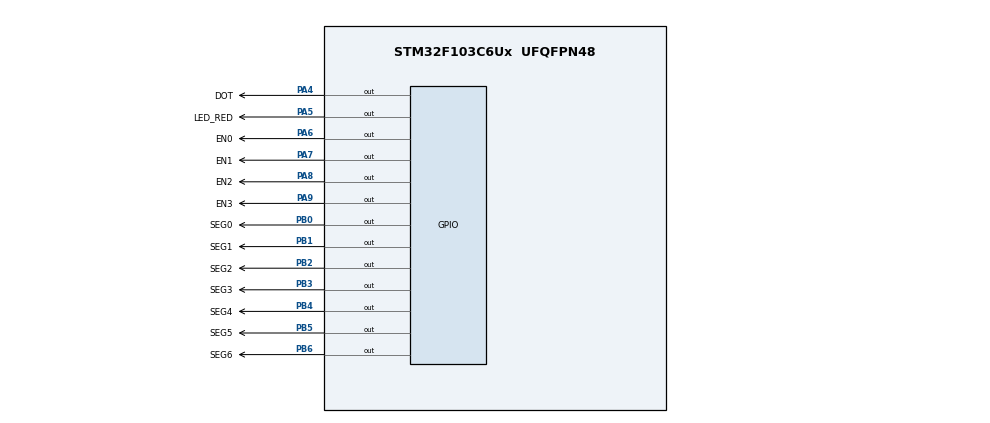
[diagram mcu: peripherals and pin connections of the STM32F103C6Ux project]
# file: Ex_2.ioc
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Mcu.Family=STM32F1
Mcu.Name=STM32F103C6Ux
Mcu.Package=UFQFPN48
NVIC.PriorityGroup=NVIC_PRIORITYGROUP_4
NVIC.TIM2_IRQn=true\:0\:0\:false\:false\:true\:true\:true
PA4.GPIO_Label=DOT
PA4.Signal=GPIO_Output
PA5.GPIO_Label=LED_RED
PA5.Signal=GPIO_Output
PA6.GPIO_Label=EN0
PA6.Signal=GPIO_Output
PA7.GPIO_Label=EN1
PA7.Signal=GPIO_Output
PA8.GPIO_Label=EN2
PA8.Signal=GPIO_Output
PA9.GPIO_Label=EN3
PA9.Signal=GPIO_Output
PB0.GPIO_Label=SEG0
PB0.Signal=GPIO_Output
PB1.GPIO_Label=SEG1
PB1.Signal=GPIO_Output
PB2.GPIO_Label=SEG2
PB2.Signal=GPIO_Output
PB3.GPIO_Label=SEG3
PB3.Signal=GPIO_Output
PB4.GPIO_Label=SEG4
PB4.Signal=GPIO_Output
PB5.GPIO_Label=SEG5
PB5.Signal=GPIO_Output
PB6.GPIO_Label=SEG6
PB6.Signal=GPIO_Output
ProjectManager.HeapSize=0x200
ProjectManager.StackSize=0x400
ProjectManager.TargetToolchain=STM32CubeIDE
RCC.APB1Freq_Value=8000000
RCC.APB2Freq_Value=8000000
TIM2.Period=9
TIM2.Prescaler=7999
VP_SYS_VS_ND.Mode=No_Debug
VP_TIM2_VS_ClockSourceINT.Mode=Internal
board=custom

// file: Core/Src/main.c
/* USER CODE BEGIN Header */
/**
  ******************************************************************************
  * @file           : main.c
  * @brief          : Main program body
  ******************************************************************************
  * @attention
  *
  * <h2><center>&copy; Copyright (c) 2023 STMicroelectronics.
  * All rights reserved.</center></h2>
  *
  * This software component is licensed by ST under BSD 3-Clause license,
  * the "License"; You may not use this file except in compliance with the
  * License. You may obtain a copy of the License at:
  *                        opensource.org/licenses/BSD-3-Clause
  *
  ******************************************************************************
  */
/* USER CODE END Header */
#include "main.h"

TIM_HandleTypeDef htim2;

void SystemClock_Config(void);
static void MX_GPIO_Init(void);
static void MX_TIM2_Init(void);
/* USER CODE BEGIN PFP */
void display7SEG(int num);
/* USER CODE END PFP */

int main(void)
{

  /* MCU Configuration--------------------------------------------------------*/

  /* Reset of all peripherals, Initializes the Flash interface and the Systick. */
  HAL_Init();

  /* Configure the system clock */
  SystemClock_Config();

  /* Initialize all configured peripherals */
  MX_GPIO_Init();
  MX_TIM2_Init();
  /* USER CODE BEGIN 2 */
  HAL_TIM_Base_Start_IT (& htim2 ) ;
  /* USER CODE END 2 */

  /* Infinite loop */
  while (1)
  {

  }
}

void SystemClock_Config(void)
{
  RCC_OscInitTypeDef RCC_OscInitStruct = {0};
  RCC_ClkInitTypeDef RCC_ClkInitStruct = {0};

  /** Initializes the RCC Oscillators according to the specified parameters
  * in the RCC_OscInitTypeDef structure.
  */
  RCC_OscInitStruct.OscillatorType = RCC_OSCILLATORTYPE_HSI;
  RCC_OscInitStruct.HSIState = RCC_HSI_ON;
  RCC_OscInitStruct.HSICalibrationValue = RCC_HSICALIBRATION_DEFAULT;
  RCC_OscInitStruct.PLL.PLLState = RCC_PLL_NONE;
  if (HAL_RCC_OscConfig(&RCC_OscInitStruct) != HAL_OK)
  {
    Error_Handler();
  }
  /** Initializes the CPU, AHB and APB buses clocks
  */
  RCC_ClkInitStruct.ClockType = RCC_CLOCKTYPE_HCLK|RCC_CLOCKTYPE_SYSCLK
                              |RCC_CLOCKTYPE_PCLK1|RCC_CLOCKTYPE_PCLK2;
  RCC_ClkInitStruct.SYSCLKSource = RCC_SYSCLKSOURCE_HSI;
  RCC_ClkInitStruct.AHBCLKDivider = RCC_SYSCLK_DIV1;
  RCC_ClkInitStruct.APB1CLKDivider = RCC_HCLK_DIV1;
  RCC_ClkInitStruct.APB2CLKDivider = RCC_HCLK_DIV1;

  if (HAL_RCC_ClockConfig(&RCC_ClkInitStruct, FLASH_LATENCY_0) != HAL_OK)
  {
    Error_Handler();
  }
}

static void MX_TIM2_Init(void)
{

  TIM_ClockConfigTypeDef sClockSourceConfig = {0};
  TIM_MasterConfigTypeDef sMasterConfig = {0};

  htim2.Instance = TIM2;
  htim2.Init.Prescaler = 7999;
  htim2.Init.CounterMode = TIM_COUNTERMODE_UP;
  htim2.Init.Period = 9;
  htim2.Init.ClockDivision = TIM_CLOCKDIVISION_DIV1;
  htim2.Init.AutoReloadPreload = TIM_AUTORELOAD_PRELOAD_DISABLE;
  if (HAL_TIM_Base_Init(&htim2) != HAL_OK)
  {
    Error_Handler();
  }
  sClockSourceConfig.ClockSource = TIM_CLOCKSOURCE_INTERNAL;
  if (HAL_TIM_ConfigClockSource(&htim2, &sClockSourceConfig) != HAL_OK)
  {
    Error_Handler();
  }
  sMasterConfig.MasterOutputTrigger = TIM_TRGO_RESET;
  sMasterConfig.MasterSlaveMode = TIM_MASTERSLAVEMODE_DISABLE;
  if (HAL_TIMEx_MasterConfigSynchronization(&htim2, &sMasterConfig) != HAL_OK)
  {
    Error_Handler();
  }

}

static void MX_GPIO_Init(void)
{
  GPIO_InitTypeDef GPIO_InitStruct = {0};

  /* GPIO Ports Clock Enable */
  __HAL_RCC_GPIOA_CLK_ENABLE();
  __HAL_RCC_GPIOB_CLK_ENABLE();

  /*Configure GPIO pin Output Level */
  HAL_GPIO_WritePin(GPIOA, DOT_Pin|LED_RED_Pin|EN0_Pin|EN1_Pin
                          |EN2_Pin|EN3_Pin, GPIO_PIN_RESET);

  /*Configure GPIO pin Output Level */
  HAL_GPIO_WritePin(GPIOB, SEG0_Pin|SEG1_Pin|SEG2_Pin|SEG3_Pin
                          |SEG4_Pin|SEG5_Pin|SEG6_Pin, GPIO_PIN_RESET);

  /*Configure GPIO pins : DOT_Pin LED_RED_Pin EN0_Pin EN1_Pin
                           EN2_Pin EN3_Pin */
  GPIO_InitStruct.Pin = DOT_Pin|LED_RED_Pin|EN0_Pin|EN1_Pin
                          |EN2_Pin|EN3_Pin;
  GPIO_InitStruct.Mode = GPIO_MODE_OUTPUT_PP;
  GPIO_InitStruct.Pull = GPIO_NOPULL;
  GPIO_InitStruct.Speed = GPIO_SPEED_FREQ_LOW;
  HAL_GPIO_Init(GPIOA, &GPIO_InitStruct);

  /*Configure GPIO pins : SEG0_Pin SEG1_Pin SEG2_Pin SEG3_Pin
                           SEG4_Pin SEG5_Pin SEG6_Pin */
  GPIO_InitStruct.Pin = SEG0_Pin|SEG1_Pin|SEG2_Pin|SEG3_Pin
                          |SEG4_Pin|SEG5_Pin|SEG6_Pin;
  GPIO_InitStruct.Mode = GPIO_MODE_OUTPUT_PP;
  GPIO_InitStruct.Pull = GPIO_NOPULL;
  GPIO_InitStruct.Speed = GPIO_SPEED_FREQ_LOW;
  HAL_GPIO_Init(GPIOB, &GPIO_InitStruct);

}

/* USER CODE BEGIN 4 */
enum State { LED0, LED1, LED2, LED3 };
int counter = 50;
enum State current = LED0;

void HAL_TIM_PeriodElapsedCallback ( TIM_HandleTypeDef * htim )
{
	switch (current) {
		case LED0:
			if(counter <= 0) {
				HAL_GPIO_WritePin(GPIOA, EN0_Pin, GPIO_PIN_RESET);
				HAL_GPIO_WritePin(GPIOA, EN1_Pin, GPIO_PIN_SET);
				HAL_GPIO_WritePin(GPIOA, EN2_Pin, GPIO_PIN_SET);
				HAL_GPIO_WritePin(GPIOA, EN3_Pin, GPIO_PIN_SET);
				counter = 50;
				display7SEG(1);
				current = LED1;
			}
			break;
		case LED1:
			if(counter <= 0) {
				HAL_GPIO_WritePin(GPIOA, EN0_Pin, GPIO_PIN_SET);
				HAL_GPIO_WritePin(GPIOA, EN1_Pin, GPIO_PIN_RESET);
				HAL_GPIO_WritePin(GPIOA, EN2_Pin, GPIO_PIN_SET);
				HAL_GPIO_WritePin(GPIOA, EN3_Pin, GPIO_PIN_SET);
				counter = 50;
				display7SEG(2);
				current = LED2;
				HAL_GPIO_TogglePin(GPIOA, DOT_Pin);
			}
			break;
		case LED2:
			if(counter <= 0) {
				HAL_GPIO_WritePin(GPIOA, EN0_Pin, GPIO_PIN_SET);
				HAL_GPIO_WritePin(GPIOA, EN1_Pin, GPIO_PIN_SET);
				HAL_GPIO_WritePin(GPIOA, EN2_Pin, GPIO_PIN_RESET);
				HAL_GPIO_WritePin(GPIOA, EN3_Pin, GPIO_PIN_SET);
				counter = 50;
				display7SEG(3);
				current = LED3;
			}
			break;
		case LED3:
			if(counter <= 0) {
				HAL_GPIO_WritePin(GPIOA, EN0_Pin, GPIO_PIN_SET);
				HAL_GPIO_WritePin(GPIOA, EN1_Pin, GPIO_PIN_SET);
				HAL_GPIO_WritePin(GPIOA, EN2_Pin, GPIO_PIN_SET);
				HAL_GPIO_WritePin(GPIOA, EN3_Pin, GPIO_PIN_RESET);
				counter = 50;
				display7SEG(0);
				current = LED0;
				HAL_GPIO_TogglePin(GPIOA, DOT_Pin);
			}
			break;
		}
		counter--;
}

void display7SEG(int num) {
	switch (num) {
	case 0:
		HAL_GPIO_WritePin(GPIOB, SEG6_Pin, GPIO_PIN_SET);
		HAL_GPIO_WritePin(GPIOB, SEG0_Pin|SEG1_Pin|SEG2_Pin|
				SEG3_Pin|SEG4_Pin|SEG5_Pin, GPIO_PIN_RESET);
		break;
	case 1:
		HAL_GPIO_WritePin(GPIOB, SEG0_Pin|
				SEG3_Pin|SEG4_Pin|SEG5_Pin|SEG6_Pin, GPIO_PIN_SET);
		HAL_GPIO_WritePin(GPIOB, SEG1_Pin|SEG2_Pin, GPIO_PIN_RESET);
		break;
	case 2:
		HAL_GPIO_WritePin(GPIOB, SEG2_Pin|SEG5_Pin, GPIO_PIN_SET);
		HAL_GPIO_WritePin(GPIOB, SEG0_Pin|SEG1_Pin|
				SEG3_Pin|SEG4_Pin|SEG6_Pin, GPIO_PIN_RESET);
		break;
	case 3:
		HAL_GPIO_WritePin(GPIOB, SEG4_Pin|SEG5_Pin, GPIO_PIN_SET);
		HAL_GPIO_WritePin(GPIOB, SEG0_Pin|SEG1_Pin|SEG2_Pin|
				SEG3_Pin|SEG6_Pin, GPIO_PIN_RESET);
		break;
	case 4:
		HAL_GPIO_WritePin(GPIOB, SEG0_Pin|SEG3_Pin|SEG4_Pin, GPIO_PIN_SET);
		HAL_GPIO_WritePin(GPIOB, SEG1_Pin|SEG2_Pin|
				SEG5_Pin|SEG6_Pin, GPIO_PIN_RESET);
		break;
	case 5:
		HAL_GPIO_WritePin(GPIOB, SEG1_Pin|SEG4_Pin, GPIO_PIN_SET);
		HAL_GPIO_WritePin(GPIOB, SEG0_Pin|SEG2_Pin|SEG3_Pin|
				SEG5_Pin|SEG6_Pin, GPIO_PIN_RESET);
		break;
	case 6:
		HAL_GPIO_WritePin(GPIOB, SEG1_Pin, GPIO_PIN_SET);
		HAL_GPIO_WritePin(GPIOB, SEG0_Pin|SEG2_Pin|SEG3_Pin|SEG4_Pin|
				SEG5_Pin|SEG6_Pin, GPIO_PIN_RESET);
		break;
	case 7:
		HAL_GPIO_WritePin(GPIOB, SEG3_Pin|SEG4_Pin|
				SEG5_Pin|SEG6_Pin, GPIO_PIN_SET);
		HAL_GPIO_WritePin(GPIOB, SEG0_Pin|SEG1_Pin|SEG2_Pin, GPIO_PIN_RESET);
		break;
	case 8:
		HAL_GPIO_WritePin(GPIOB, SEG0_Pin|SEG1_Pin|SEG2_Pin|SEG3_Pin|SEG4_Pin|
				SEG5_Pin|SEG6_Pin, GPIO_PIN_RESET);
		break;
	case 9:
		HAL_GPIO_WritePin(GPIOB, SEG4_Pin, GPIO_PIN_SET);
		HAL_GPIO_WritePin(GPIOB, SEG0_Pin|SEG1_Pin|SEG2_Pin|SEG3_Pin|
				SEG5_Pin|SEG6_Pin, GPIO_PIN_RESET);
		break;
	default:
		HAL_GPIO_WritePin(GPIOB, SEG0_Pin|SEG1_Pin|SEG2_Pin|SEG3_Pin|SEG4_Pin|
				SEG5_Pin|SEG6_Pin, GPIO_PIN_SET);
		break;
	}
}
/* USER CODE END 4 */

void Error_Handler(void)
{
  __disable_irq();
  while (1)
  {
  }
}

/************************ (C) COPYRIGHT STMicroelectronics *****END OF FILE****/
